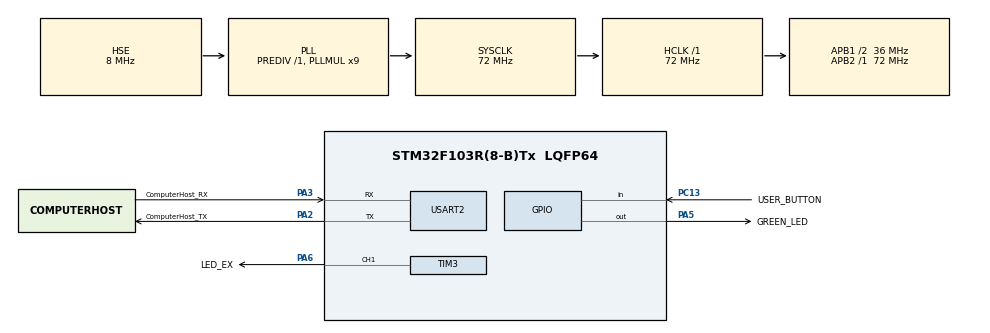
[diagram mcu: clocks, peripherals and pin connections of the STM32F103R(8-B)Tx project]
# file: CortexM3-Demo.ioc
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IWDG.Prescaler=IWDG_PRESCALER_32
Mcu.Family=STM32F1
Mcu.Name=STM32F103R(8-B)Tx
Mcu.Package=LQFP64
NVIC.PriorityGroup=NVIC_PRIORITYGROUP_4
NVIC.USART2_IRQn=true\:0\:0\:false\:false\:true\:true\:true
PA13.GPIO_Label=TMS
PA13.Mode=Serial_Wire
PA13.Signal=SYS_JTMS-SWDIO
PA14.GPIO_Label=TCK
PA14.Mode=Serial_Wire
PA14.Signal=SYS_JTCK-SWCLK
PA2.GPIO_Label=ComputerHost_TX
PA2.GPIO_Mode=GPIO_MODE_AF_PP
PA2.GPIO_PuPd=GPIO_NOPULL
PA2.GPIO_Speed=GPIO_SPEED_FREQ_LOW
PA2.Mode=Asynchronous
PA2.Signal=USART2_TX
PA3.GPIO_Label=ComputerHost_RX
PA3.GPIO_Mode=GPIO_MODE_AF_PP
PA3.GPIO_PuPd=GPIO_NOPULL
PA3.GPIO_Speed=GPIO_SPEED_FREQ_LOW
PA3.Mode=Asynchronous
PA3.Signal=USART2_RX
PA5.GPIO_Label=GREEN_LED
PA5.GPIO_ModeDefaultOutputPP=GPIO_MODE_OUTPUT_PP
PA5.GPIO_PuPd=GPIO_NOPULL
PA5.GPIO_Speed=GPIO_SPEED_FREQ_LOW
PA5.Signal=GPIO_Output
PA6.GPIO_Label=LED_EX
PA6.Signal=S_TIM3_CH1
PB3.GPIO_Label=SWO
PB3.Signal=SYS_JTDO-TRACESWO
PC13-TAMPER-RTC.GPIO_Label=USER_BUTTON
PC13-TAMPER-RTC.GPIO_PuPd=GPIO_NOPULL
PC13-TAMPER-RTC.Signal=GPIO_Input
PC14-OSC32_IN.Mode=LSE-External-Oscillator
PC14-OSC32_IN.Signal=RCC_OSC32_IN
PC15-OSC32_OUT.Mode=LSE-External-Oscillator
PC15-OSC32_OUT.Signal=RCC_OSC32_OUT
PD0-OSC_IN.Mode=HSE-External-Clock-Source
PD0-OSC_IN.Signal=RCC_OSC_IN
PD1-OSC_OUT.Mode=HSE-External-Clock-Source
PD1-OSC_OUT.Signal=RCC_OSC_OUT
ProjectManager.HeapSize=0x200
ProjectManager.StackSize=0x400
ProjectManager.TargetToolchain=MDK-ARM V5
RCC.AHBFreq_Value=72000000
RCC.APB1CLKDivider=RCC_HCLK_DIV2
RCC.APB1Freq_Value=36000000
RCC.APB1TimFreq_Value=72000000
RCC.APB2Freq_Value=72000000
RCC.APB2TimFreq_Value=72000000
RCC.HCLKFreq_Value=72000000
RCC.PLLMUL=RCC_PLL_MUL9
RCC.PLLSourceVirtual=RCC_PLLSOURCE_HSE
RCC.RTCClockSelection=RCC_RTCCLKSOURCE_LSE
RCC.SYSCLKFreq_VALUE=72000000
RCC.SYSCLKSource=RCC_SYSCLKSOURCE_PLLCLK
RCC.USBFreq_Value=72000000
SH.S_TIM3_CH1.0=TIM3_CH1,PWM Generation1 CH1
TIM3.Channel-PWM\ Generation1\ CH1=TIM_CHANNEL_1
TIM3.Period=703
TIM3.Prescaler=1024
USART2.VirtualMode=VM_ASYNC
VP_IWDG_VS_IWDG.Mode=IWDG_Activate
board=NUCLEO-F103RB

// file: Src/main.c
/* USER CODE BEGIN Header */
/**
  ******************************************************************************
  * @file           : main.c
  * @brief          : Main program body
	* @author         : Chan Tai Wing Vincent
	* @content        : M3 Demo - Timer Pulse Width Modulation (PWM)
	* @version        : Tutorial 5
  ******************************************************************************
  * @attention
  * This program is written for STM32F103RB Nucleo Board. This program is to
  * demonstrate how to use generate a PWM with certain duty cycle. "INC" and "DEC"
	* are the commands to change the duty cycles in order to change the brightness
	* of D12 LED.
  ******************************************************************************
  */
/* USER CODE END Header */

#include "main.h"

/* USER CODE BEGIN Includes */
#include "stdbool.h"
/* USER CODE END Includes */

/* USER CODE BEGIN PD */
#define USART_BUFFER_SIZE 3
#define TRUE 1
#define FALSE 0
/* USER CODE END PD */

IWDG_HandleTypeDef hiwdg;

TIM_HandleTypeDef htim3;

UART_HandleTypeDef huart2;

/* USER CODE BEGIN PV */
int LED_ON = FALSE;

unsigned char USART_RX_BUFFER[USART_BUFFER_SIZE];
unsigned char SYSTEM_START[] = "WELCEOM TO STM32F103RBT6 !\r\n";
unsigned char SYSTEM_WATCHDOG_RESET[] = "IWDG reset failed !\r\n";
unsigned char SYSTEM_TIMER_IT[] = "ONE second passed !\r\n";
unsigned char SYSTEM_LED_MAX[] = "LED Brightness increased !\r\n";
unsigned char SYSTEM_LED_MIN[] = "LED Brightness decreased !\r\n";

int TIMER_COUNTER = 0;
int LED_PWM = 0;

/* USER CODE END PV */

void SystemClock_Config(void);
static void MX_GPIO_Init(void);
static void MX_USART2_UART_Init(void);
static void MX_IWDG_Init(void);
static void MX_TIM3_Init(void);

int main(void)
{

  /* MCU Configuration--------------------------------------------------------*/

  /* Reset of all peripherals, Initializes the Flash interface and the Systick. */
  HAL_Init();

  /* Configure the system clock */
  SystemClock_Config();

  /* Initialize all configured peripherals */
  MX_GPIO_Init();
  MX_USART2_UART_Init();
  MX_IWDG_Init();
  MX_TIM3_Init();
  /* USER CODE BEGIN 2 */
  HAL_UART_Transmit(&huart2,SYSTEM_START,sizeof(SYSTEM_START)-1,300); //Ask USART2 to send message and timeout = 300ms
	HAL_TIM_PWM_Start(&htim3,TIM_CHANNEL_1); //Enable PWM Channel 1 in Timer3
	HAL_UART_Receive_IT(&huart2,USART_RX_BUFFER,sizeof(USART_RX_BUFFER)); //Indicate USART2 to have RX interrupt
  /* USER CODE END 2 */

  /* Infinite loop */
  /* USER CODE BEGIN WHILE */
  while (1)
  {

		if(LED_ON == TRUE)       //Check whether "LED" is received
		{
			HAL_GPIO_WritePin(GREEN_LED_GPIO_Port,GREEN_LED_Pin,GPIO_PIN_SET);                //LED ON
		}else{
			     HAL_GPIO_WritePin(GREEN_LED_GPIO_Port,GREEN_LED_Pin,GPIO_PIN_RESET);         //LED OFF
		     }
    if(HAL_GPIO_ReadPin(USER_BUTTON_GPIO_Port,USER_BUTTON_Pin) == GPIO_PIN_RESET)       //BUTTON pressed then fall into deadloop
		{
			HAL_UART_Transmit(&huart2,SYSTEM_WATCHDOG_RESET,sizeof(SYSTEM_WATCHDOG_RESET)-1,300);
			while(1);  //Deadloop
		}
		if (LED_PWM == 100)
		{
			__HAL_TIM_SET_COMPARE(&htim3,TIM_CHANNEL_1,600);             // Received "INC" ,output a higher duty cycle
		}else if (LED_PWM == 50)
			    {
						__HAL_TIM_SET_COMPARE(&htim3,TIM_CHANNEL_1,80);       // Received "DEC", output a lower duty cycle
					}
		HAL_IWDG_Refresh(&hiwdg);   //WATCHDOG Reset [within 3.2s]

    /* USER CODE END WHILE */

  }
}

void SystemClock_Config(void)
{
  RCC_OscInitTypeDef RCC_OscInitStruct = {0};
  RCC_ClkInitTypeDef RCC_ClkInitStruct = {0};

  /** Initializes the CPU, AHB and APB busses clocks
  */
  RCC_OscInitStruct.OscillatorType = RCC_OSCILLATORTYPE_LSI|RCC_OSCILLATORTYPE_HSE;
  RCC_OscInitStruct.HSEState = RCC_HSE_BYPASS;
  RCC_OscInitStruct.HSEPredivValue = RCC_HSE_PREDIV_DIV1;
  RCC_OscInitStruct.HSIState = RCC_HSI_ON;
  RCC_OscInitStruct.LSIState = RCC_LSI_ON;
  RCC_OscInitStruct.PLL.PLLState = RCC_PLL_ON;
  RCC_OscInitStruct.PLL.PLLSource = RCC_PLLSOURCE_HSE;
  RCC_OscInitStruct.PLL.PLLMUL = RCC_PLL_MUL9;
  if (HAL_RCC_OscConfig(&RCC_OscInitStruct) != HAL_OK)
  {
    Error_Handler();
  }
  /** Initializes the CPU, AHB and APB busses clocks
  */
  RCC_ClkInitStruct.ClockType = RCC_CLOCKTYPE_HCLK|RCC_CLOCKTYPE_SYSCLK
                              |RCC_CLOCKTYPE_PCLK1|RCC_CLOCKTYPE_PCLK2;
  RCC_ClkInitStruct.SYSCLKSource = RCC_SYSCLKSOURCE_PLLCLK;
  RCC_ClkInitStruct.AHBCLKDivider = RCC_SYSCLK_DIV1;
  RCC_ClkInitStruct.APB1CLKDivider = RCC_HCLK_DIV2;
  RCC_ClkInitStruct.APB2CLKDivider = RCC_HCLK_DIV1;

  if (HAL_RCC_ClockConfig(&RCC_ClkInitStruct, FLASH_LATENCY_2) != HAL_OK)
  {
    Error_Handler();
  }
}

static void MX_IWDG_Init(void)
{

  hiwdg.Instance = IWDG;
  hiwdg.Init.Prescaler = IWDG_PRESCALER_32;
  hiwdg.Init.Reload = 4095;
  if (HAL_IWDG_Init(&hiwdg) != HAL_OK)
  {
    Error_Handler();
  }

}

static void MX_TIM3_Init(void)
{

  TIM_MasterConfigTypeDef sMasterConfig = {0};
  TIM_OC_InitTypeDef sConfigOC = {0};

  htim3.Instance = TIM3;
  htim3.Init.Prescaler = 1024;
  htim3.Init.CounterMode = TIM_COUNTERMODE_UP;
  htim3.Init.Period = 703;
  htim3.Init.ClockDivision = TIM_CLOCKDIVISION_DIV1;
  htim3.Init.AutoReloadPreload = TIM_AUTORELOAD_PRELOAD_DISABLE;
  if (HAL_TIM_PWM_Init(&htim3) != HAL_OK)
  {
    Error_Handler();
  }
  sMasterConfig.MasterOutputTrigger = TIM_TRGO_RESET;
  sMasterConfig.MasterSlaveMode = TIM_MASTERSLAVEMODE_DISABLE;
  if (HAL_TIMEx_MasterConfigSynchronization(&htim3, &sMasterConfig) != HAL_OK)
  {
    Error_Handler();
  }
  sConfigOC.OCMode = TIM_OCMODE_PWM1;
  sConfigOC.Pulse = 0;
  sConfigOC.OCPolarity = TIM_OCPOLARITY_HIGH;
  sConfigOC.OCFastMode = TIM_OCFAST_DISABLE;
  if (HAL_TIM_PWM_ConfigChannel(&htim3, &sConfigOC, TIM_CHANNEL_1) != HAL_OK)
  {
    Error_Handler();
  }
  HAL_TIM_MspPostInit(&htim3);

}

static void MX_USART2_UART_Init(void)
{

  huart2.Instance = USART2;
  huart2.Init.BaudRate = 115200;
  huart2.Init.WordLength = UART_WORDLENGTH_8B;
  huart2.Init.StopBits = UART_STOPBITS_1;
  huart2.Init.Parity = UART_PARITY_NONE;
  huart2.Init.Mode = UART_MODE_TX_RX;
  huart2.Init.HwFlowCtl = UART_HWCONTROL_NONE;
  huart2.Init.OverSampling = UART_OVERSAMPLING_16;
  if (HAL_UART_Init(&huart2) != HAL_OK)
  {
    Error_Handler();
  }

}

static void MX_GPIO_Init(void)
{
  GPIO_InitTypeDef GPIO_InitStruct = {0};

  /* GPIO Ports Clock Enable */
  __HAL_RCC_GPIOC_CLK_ENABLE();
  __HAL_RCC_GPIOD_CLK_ENABLE();
  __HAL_RCC_GPIOA_CLK_ENABLE();
  __HAL_RCC_GPIOB_CLK_ENABLE();

  /*Configure GPIO pin Output Level */
  HAL_GPIO_WritePin(GREEN_LED_GPIO_Port, GREEN_LED_Pin, GPIO_PIN_RESET);

  /*Configure GPIO pin : USER_BUTTON_Pin */
  GPIO_InitStruct.Pin = USER_BUTTON_Pin;
  GPIO_InitStruct.Mode = GPIO_MODE_INPUT;
  GPIO_InitStruct.Pull = GPIO_NOPULL;
  HAL_GPIO_Init(USER_BUTTON_GPIO_Port, &GPIO_InitStruct);

  /*Configure GPIO pin : GREEN_LED_Pin */
  GPIO_InitStruct.Pin = GREEN_LED_Pin;
  GPIO_InitStruct.Mode = GPIO_MODE_OUTPUT_PP;
  GPIO_InitStruct.Pull = GPIO_NOPULL;
  GPIO_InitStruct.Speed = GPIO_SPEED_FREQ_LOW;
  HAL_GPIO_Init(GREEN_LED_GPIO_Port, &GPIO_InitStruct);

}

/* USER CODE BEGIN 4 */
void HAL_UART_RxCpltCallback(UART_HandleTypeDef *huart)  //USART Receive Interrupt
{
  UNUSED(huart);
	if (huart == &huart2)  //Decide what should USART2 do when message is received
	{
		if((USART_RX_BUFFER[0] == 'L')&&(USART_RX_BUFFER[1] == 'E')&&(USART_RX_BUFFER[2] == 'D'))  //Must receive "LED" to change the state of LED
		{
			if(LED_ON == TRUE)
			{
				LED_ON = FALSE;
			}else{
				     LED_ON = TRUE;
			     }
    }
		if((USART_RX_BUFFER[0] == 'I')&&(USART_RX_BUFFER[1] == 'N')&&(USART_RX_BUFFER[2] == 'C'))  //Must receive "INC" to have a higher duty cycle
		{
			LED_PWM = 100;
			HAL_UART_Transmit(&huart2,SYSTEM_LED_MAX,sizeof(SYSTEM_LED_MAX)-1,300);
    }
		if((USART_RX_BUFFER[0] == 'D')&&(USART_RX_BUFFER[1] == 'E')&&(USART_RX_BUFFER[2] == 'C'))  //Must receive "DEC" to have a lower duty cycle
		{
			LED_PWM = 50;
			HAL_UART_Transmit(&huart2,SYSTEM_LED_MIN,sizeof(SYSTEM_LED_MIN)-1,300);
    }
    HAL_UART_Receive_IT(&huart2,USART_RX_BUFFER,sizeof(USART_RX_BUFFER)); //Indicate USART2 to have RX interrupt
	}
}

/* USER CODE END 4 */

void Error_Handler(void)
{
}

/************************ (C) COPYRIGHT STMicroelectronics *****END OF FILE****/
